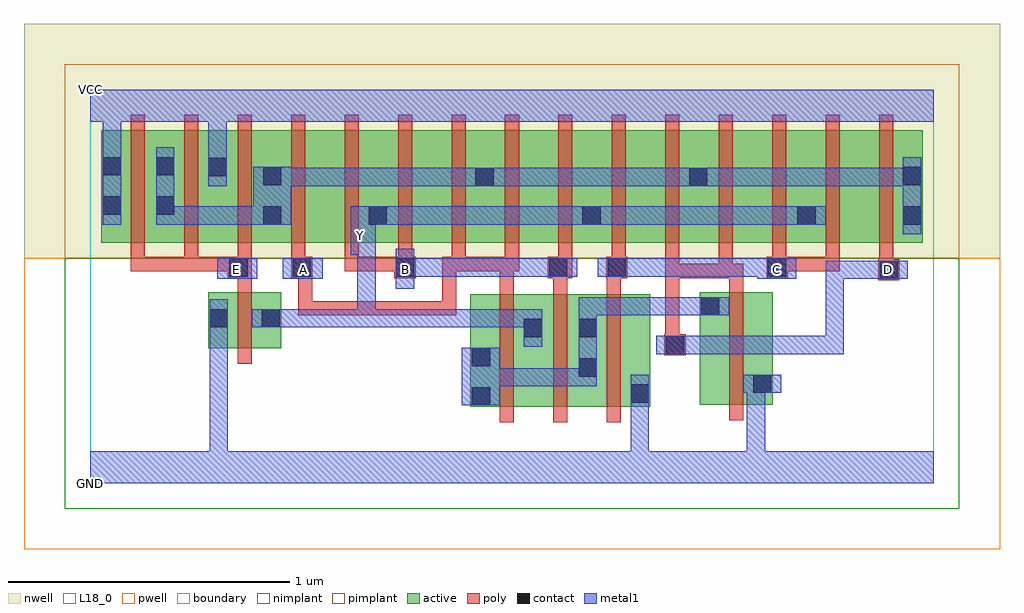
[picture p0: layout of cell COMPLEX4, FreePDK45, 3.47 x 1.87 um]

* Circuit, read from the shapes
.subckt COMPLEX4 A B C D E GND VCC Y
M1 Y E GND VSUBS nfet w=0.2u l=0.05u
M2 Y A n1 VSUBS nfet w=0.4u l=0.05u
M3 n1 B Y VSUBS nfet w=0.4u l=0.05u
M4 GND C n1 VSUBS nfet w=0.4u l=0.05u
M5 GND D n1 VSUBS nfet w=0.4u l=0.05u
M6 n2 E VCC n3 pfet w=0.4u l=0.05u m=3
M7 n4 A n2 n3 pfet w=0.4u l=0.05u
M8 Y B n4 n3 pfet w=0.4u l=0.05u
M9 n5 B Y n3 pfet w=0.4u l=0.05u
M10 n2 A n5 n3 pfet w=0.4u l=0.05u
M11 n6 A n2 n3 pfet w=0.4u l=0.05u
M12 Y B n6 n3 pfet w=0.4u l=0.05u
M13 n7 C Y n3 pfet w=0.4u l=0.05u
M14 n2 D n7 n3 pfet w=0.4u l=0.05u
M15 n8 D n2 n3 pfet w=0.4u l=0.05u
M16 Y C n8 n3 pfet w=0.4u l=0.05u
M17 n9 C Y n3 pfet w=0.4u l=0.05u
M18 n2 D n9 n3 pfet w=0.4u l=0.05u
.ends

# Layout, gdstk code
import gdstk
lib = gdstk.Library(unit=1e-6, precision=1e-09)
def R(c, l, rs):  # rectangles x0, y0, x1, y1
    for r in rs: c.add(gdstk.rectangle(r[:2], r[2:], *l))
def A(c, l, x, y, w, h, nx, ny, dx, dy):  # array of equal rectangles
    R(c, l, [(x+i*dx, y+j*dy, x+i*dx+w, y+j*dy+h) for i in range(nx) for j in range(ny)])
active = (1, 0)
pwell = (2, 0)
nwell = (3, 0)
nimplant = (4, 0)
pimplant = (5, 0)
poly = (9, 0)
contact = (10, 0)
metal1 = (11, 0)
L18_0 = (18, 0)
boundary = (235, 0)

complex4 = lib.new_cell('COMPLEX4')
A(complex4, active, 0.835, 0.855, 0.225, 0.4, 4, 1, 0.38, 0)
A(complex4, active, 0.985, 0.855, 0.23, 0.4, 4, 1, 0.38, 0)
R(complex4, active, [(1.352,0.272,1.612,0.672), (1.352,0.272,1.427,0.495), (1.537,0.272,1.807,0.672), (1.732,0.272,1.992,0.672), (1.732,0.272,1.807,0.672), (1.917,0.272,1.992,0.492), (2.167,0.28,2.427,0.68), (2.352,0.28,2.427,0.597), (1.537,0.345,1.612,0.672), (2.167,0.345,2.242,0.68), (0.42,0.48,0.495,0.68), (0.42,0.48,0.68,0.68), (0.605,0.48,0.68,0.68), (0.04,0.855,0.115,1.255), (0.04,0.855,0.305,1.255), (0.23,0.855,0.49,1.255), (0.415,0.855,0.685,1.255), (0.61,0.855,0.835,1.255), (2.355,0.855,2.585,1.255), (2.51,0.855,2.735,1.255), (2.735,0.855,2.96,1.255), (2.885,0.855,2.96,1.2), (0.23,0.907,0.305,1.2), (0.415,0.907,0.49,1.255), (0.61,0.907,0.685,1.2), (0.985,0.907,1.06,1.07), (1.365,0.907,1.44,1.2), (1.745,0.907,1.82,1.07), (2.125,0.907,2.2,1.2), (2.51,0.907,2.585,1.07)])
R(complex4, pwell, [(-0.235,-0.235,3.235,0.8)])
R(complex4, nwell, [(-0.235,0.8,3.235,1.635)])
R(complex4, nimplant, [(-0.09,-0.09,3.09,0.8)])
R(complex4, pimplant, [(-0.09,0.8,3.09,1.49)])
A(complex4, poly, 1.457, 0.217, 0.05, 0.51, 3, 1, 0.19, 0)
A(complex4, poly, 0.145, 0.755, 0.05, 0.095, 10, 1, 0.19, 0)
A(complex4, poly, 0.145, 0.8, 0.05, 0.51, 15, 1, 0.19, 0)
R(complex4, poly, [(2.272,0.225,2.322,0.735), (0.525,0.425,0.575,0.735), (2.042,0.455,2.117,0.53), (2.045,0.48,2.095,0.53), (2.045,0.48,2.095,0.53), (2.045,0.48,2.095,0.78), (0.74,0.597,0.79,0.647), (0.74,0.597,0.79,0.647), (0.74,0.597,0.79,0.647), (0.74,0.597,1,0.647), (0.74,0.597,0.79,0.78), (0.95,0.597,1,0.647), (0.95,0.597,1.17,0.647), (1.12,0.597,1.17,0.647), (1.12,0.597,1.17,0.647), (1.12,0.597,1.17,0.647), (1.12,0.597,1.302,0.647), (1.252,0.597,1.302,0.647), (1.252,0.597,1.302,0.647), (1.252,0.597,1.302,0.647), (1.252,0.597,1.302,0.647), (1.252,0.597,1.302,0.647), (1.252,0.597,1.302,0.805), (1.457,0.677,1.507,0.805), (1.647,0.677,1.697,0.78), (1.837,0.677,1.887,0.78), (0.525,0.685,0.575,0.78), (2.272,0.685,2.322,0.78), (2.802,0.722,2.877,0.797), (0.49,0.73,0.575,0.805), (0.715,0.73,0.79,0.805), (0.74,0.73,0.79,0.78), (0.74,0.73,0.79,0.78), (1.082,0.73,1.157,0.805), (1.627,0.73,1.715,0.805), (1.835,0.73,1.91,0.805), (2.045,0.73,2.095,0.78), (2.045,0.73,2.095,0.85), (2.045,0.73,2.285,0.78), (2.235,0.73,2.285,0.78), (2.235,0.73,2.285,0.78), (2.235,0.73,2.285,0.85), (2.235,0.73,2.322,0.78), (2.405,0.73,2.48,0.805), (2.805,0.747,2.855,0.85), (0.145,0.755,0.195,0.805), (0.145,0.755,0.195,0.805), (0.145,0.755,0.195,0.805), (0.145,0.755,0.385,0.805), (0.335,0.755,0.385,0.805), (0.335,0.755,0.385,0.805), (0.335,0.755,0.385,0.805), (0.335,0.755,0.54,0.805), (0.905,0.755,0.955,0.805), (0.905,0.755,1.132,0.805), (1.082,0.755,1.132,0.805), (1.082,0.755,1.132,0.805), (1.252,0.755,1.335,0.805), (1.285,0.755,1.507,0.805), (1.457,0.755,1.507,0.805), (1.457,0.755,1.507,0.805), (1.457,0.755,1.525,0.805), (2.425,0.755,2.475,0.85), (2.43,0.755,2.665,0.805), (2.615,0.755,2.665,0.85), (2.615,0.755,2.665,0.805), (2.615,0.755,2.665,0.805), (2.615,0.755,2.665,0.805)])
R(complex4, contact, [(1.357,0.277,1.422,0.342), (1.922,0.287,1.987,0.352), (2.357,0.322,2.422,0.387), (1.737,0.38,1.802,0.445), (1.357,0.417,1.422,0.482), (2.047,0.46,2.112,0.525), (1.542,0.52,1.607,0.585), (1.737,0.52,1.802,0.585), (0.425,0.555,0.49,0.62), (0.61,0.555,0.675,0.62), (2.172,0.597,2.237,0.662), (2.807,0.727,2.872,0.792), (0.495,0.735,0.56,0.8), (0.72,0.735,0.785,0.8), (1.087,0.735,1.152,0.8), (1.632,0.735,1.697,0.8), (1.84,0.735,1.905,0.8), (2.41,0.735,2.475,0.8), (0.615,0.92,0.68,0.985), (0.99,0.92,1.055,0.985), (1.75,0.92,1.815,0.985), (2.515,0.92,2.58,0.985), (2.89,0.92,2.955,0.985), (0.045,0.955,0.11,1.02), (0.235,0.955,0.3,1.02), (1.37,1.057,1.435,1.122), (2.13,1.057,2.195,1.122), (0.615,1.06,0.68,1.125), (2.89,1.06,2.955,1.125), (0.42,1.092,0.485,1.157), (0.045,1.095,0.11,1.16), (0.235,1.095,0.3,1.16)])
R(complex4, metal1, [(0,0,3,0.115), (0.425,0.05,0.49,0.115), (0.425,0.05,0.49,0.115), (0.425,0.05,0.49,0.115), (0.425,0.05,0.49,0.115), (0.425,0.05,0.49,0.115), (0.425,0.05,0.49,0.115), (0.425,0.05,0.49,0.115), (0.425,0.05,0.49,0.115), (0.425,0.05,0.49,0.585), (1.922,0.05,1.987,0.115), (1.922,0.05,1.987,0.115), (1.922,0.05,1.987,0.115), (1.922,0.05,1.987,0.115), (1.922,0.05,1.987,0.317), (2.335,0.05,2.4,0.115), (2.335,0.05,2.4,0.115), (2.335,0.05,2.4,0.387), (1.922,0.252,1.987,0.387), (1.322,0.277,1.457,0.482), (2.322,0.322,2.457,0.387), (2.335,0.322,2.4,0.387), (2.335,0.322,2.4,0.387), (1.392,0.345,1.505,0.41), (1.44,0.345,1.505,0.41), (1.44,0.345,1.642,0.41), (1.577,0.345,1.642,0.41), (1.577,0.345,1.642,0.41), (1.577,0.345,1.642,0.41), (1.577,0.345,1.802,0.41), (1.737,0.345,1.802,0.62), (2.012,0.46,2.147,0.525), (2.082,0.46,2.147,0.525), (2.082,0.46,2.147,0.525), (2.082,0.46,2.3,0.525), (2.235,0.46,2.3,0.525), (2.235,0.46,2.41,0.525), (2.345,0.46,2.41,0.525), (2.345,0.46,2.41,0.525), (2.345,0.46,2.41,0.525), (2.345,0.46,2.437,0.525), (2.372,0.46,2.437,0.525), (2.372,0.46,2.68,0.525), (2.615,0.46,2.68,0.525), (2.615,0.46,2.68,0.792), (1.542,0.485,1.607,0.62), (0.425,0.52,0.49,0.655), (0.575,0.555,0.71,0.62), (0.645,0.555,0.855,0.62), (0.79,0.555,0.855,0.62), (0.79,0.555,0.855,0.62), (0.79,0.555,0.855,0.62), (0.79,0.555,1.015,0.62), (0.95,0.555,1.015,0.62), (0.95,0.555,1.015,0.62), (0.95,0.555,1.015,0.62), (0.95,0.555,1.227,0.62), (0.95,0.555,1.015,0.877), (1.162,0.555,1.227,0.62), (1.162,0.555,1.227,0.62), (1.162,0.555,1.227,0.62), (1.162,0.555,1.365,0.62), (1.3,0.555,1.365,0.62), (1.3,0.555,1.365,0.62), (1.3,0.555,1.365,0.62), (1.3,0.555,1.505,0.62), (1.44,0.555,1.505,0.62), (1.44,0.555,1.607,0.62), (1.737,0.555,1.802,0.662), (1.737,0.597,1.802,0.662), (1.737,0.597,1.802,0.662), (1.737,0.597,1.802,0.662), (1.737,0.597,2.01,0.662), (1.945,0.597,2.01,0.662), (1.945,0.597,2.162,0.662), (2.097,0.597,2.162,0.662), (2.097,0.597,2.202,0.662), (2.137,0.597,2.272,0.662), (1.087,0.692,1.152,0.835), (0.452,0.727,0.595,0.8), (0.685,0.727,0.827,0.8), (2.372,0.727,2.51,0.8), (2.615,0.727,2.68,0.792), (2.615,0.727,2.682,0.792), (2.617,0.727,2.682,0.792), (2.617,0.727,2.817,0.792), (2.752,0.727,2.817,0.792), (2.752,0.727,2.837,0.792), (2.772,0.727,2.907,0.792), (1.087,0.735,1.227,0.8), (1.162,0.735,1.227,0.8), (1.162,0.735,1.365,0.8), (1.3,0.735,1.365,0.8), (1.3,0.735,1.365,0.8), (1.3,0.735,1.365,0.8), (1.3,0.735,1.502,0.8), (1.437,0.735,1.502,0.8), (1.437,0.735,1.607,0.8), (1.542,0.735,1.607,0.8), (1.542,0.735,1.662,0.8), (1.597,0.735,1.732,0.8), (1.805,0.735,1.94,0.8), (1.875,0.735,2.01,0.8), (1.945,0.735,2.01,0.8), (1.945,0.735,2.162,0.8), (2.097,0.735,2.162,0.8), (2.097,0.735,2.162,0.8), (2.097,0.735,2.162,0.8), (2.097,0.735,2.3,0.8), (2.235,0.735,2.3,0.8), (2.235,0.735,2.407,0.8), (2.342,0.735,2.407,0.8), (2.342,0.735,2.437,0.8), (0.927,0.812,1.015,0.985), (2.89,0.885,2.955,1.16), (0.045,0.92,0.11,1.195), (0.235,0.92,0.3,0.985), (0.235,0.92,0.3,0.985), (0.235,0.92,0.3,1.195), (0.235,0.92,0.502,0.985), (0.437,0.92,0.502,0.985), (0.437,0.92,0.502,0.985), (0.437,0.92,0.502,0.985), (0.437,0.92,0.645,0.985), (0.58,0.92,0.715,1.125), (0.95,0.92,1.015,0.985), (0.95,0.92,1.09,0.985), (1.025,0.92,1.227,0.985), (1.162,0.92,1.227,0.985), (1.162,0.92,1.227,0.985), (1.162,0.92,1.227,0.985), (1.162,0.92,1.365,0.985), (1.3,0.92,1.365,0.985), (1.3,0.92,1.365,0.985), (1.3,0.92,1.365,0.985), (1.3,0.92,1.502,0.985), (1.437,0.92,1.502,0.985), (1.437,0.92,1.642,0.985), (1.577,0.92,1.642,0.985), (1.577,0.92,1.642,0.985), (1.577,0.92,1.642,0.985), (1.577,0.92,1.78,0.985), (1.715,0.92,1.85,0.985), (1.785,0.92,1.85,0.985), (1.785,0.92,1.85,0.985), (1.785,0.92,1.987,0.985), (1.922,0.92,1.987,0.985), (1.922,0.92,2.147,0.985), (2.082,0.92,2.147,0.985), (2.082,0.92,2.147,0.985), (2.082,0.92,2.147,0.985), (2.082,0.92,2.3,0.985), (2.235,0.92,2.3,0.985), (2.235,0.92,2.367,0.985), (2.302,0.92,2.367,0.985), (2.302,0.92,2.545,0.985), (2.48,0.92,2.545,0.985), (2.48,0.92,2.545,0.985), (2.48,0.92,2.615,0.985), (0.42,1.057,0.485,1.192), (0.65,1.057,0.855,1.122), (0.79,1.057,0.855,1.122), (0.79,1.057,0.855,1.122), (0.79,1.057,0.855,1.122), (0.79,1.057,0.855,1.122), (0.79,1.057,0.855,1.122), (0.79,1.057,1.015,1.122), (0.95,1.057,1.015,1.122), (0.95,1.057,1.015,1.122), (0.95,1.057,1.015,1.122), (0.95,1.057,1.227,1.122), (1.162,1.057,1.227,1.122), (1.162,1.057,1.227,1.122), (1.162,1.057,1.227,1.122), (1.162,1.057,1.365,1.122), (1.3,1.057,1.365,1.122), (1.3,1.057,1.4,1.122), (1.335,1.057,1.47,1.122), (1.405,1.057,1.505,1.122), (1.44,1.057,1.505,1.122), (1.44,1.057,1.642,1.122), (1.577,1.057,1.642,1.122), (1.577,1.057,1.642,1.122), (1.577,1.057,1.642,1.122), (1.577,1.057,1.78,1.122), (1.715,1.057,1.78,1.122), (1.715,1.057,1.78,1.122), (1.715,1.057,1.78,1.122), (1.715,1.057,2.01,1.122), (1.945,1.057,2.01,1.122), (1.945,1.057,2.16,1.122), (2.095,1.057,2.16,1.122), (2.095,1.057,2.16,1.122), (2.095,1.057,2.23,1.122), (2.165,1.057,2.3,1.122), (2.235,1.057,2.3,1.122), (2.235,1.057,2.407,1.122), (2.342,1.057,2.407,1.122), (2.342,1.057,2.437,1.122), (2.372,1.057,2.437,1.122), (2.372,1.057,2.68,1.122), (2.615,1.057,2.68,1.122), (2.615,1.057,2.682,1.122), (2.617,1.057,2.682,1.122), (2.617,1.057,2.817,1.122), (2.752,1.057,2.817,1.122), (2.752,1.057,2.817,1.122), (2.752,1.057,2.817,1.122), (2.752,1.057,2.955,1.122), (2.89,1.057,2.955,1.122), (2.89,1.057,2.955,1.122), (0.42,1.127,0.485,1.35), (0.045,1.13,0.11,1.35), (0,1.285,3,1.4)])
R(complex4, L18_0, [(0,0,3,0.115), (0.425,0.05,0.49,0.115), (0.425,0.05,0.49,0.115), (0.425,0.05,0.49,0.115), (0.425,0.05,0.49,0.115), (0.425,0.05,0.49,0.115), (0.425,0.05,0.49,0.115), (0.425,0.05,0.49,0.115), (0.425,0.05,0.49,0.115), (0.425,0.05,0.49,0.585), (1.922,0.05,1.987,0.115), (1.922,0.05,1.987,0.115), (1.922,0.05,1.987,0.115), (1.922,0.05,1.987,0.115), (1.922,0.05,1.987,0.317), (2.335,0.05,2.4,0.115), (2.335,0.05,2.4,0.115), (2.335,0.05,2.4,0.387), (1.922,0.252,1.987,0.387), (2.322,0.322,2.457,0.387), (2.335,0.322,2.4,0.387), (2.335,0.322,2.4,0.387), (2.012,0.46,2.147,0.525), (2.082,0.46,2.147,0.525), (2.082,0.46,2.147,0.525), (2.082,0.46,2.3,0.525), (2.235,0.46,2.3,0.525), (2.235,0.46,2.41,0.525), (2.345,0.46,2.41,0.525), (2.345,0.46,2.41,0.525), (2.345,0.46,2.41,0.525), (2.345,0.46,2.437,0.525), (2.372,0.46,2.437,0.525), (2.372,0.46,2.68,0.525), (2.615,0.46,2.68,0.525), (2.615,0.46,2.68,0.792), (1.542,0.485,1.607,0.62), (0.425,0.52,0.49,0.655), (0.575,0.555,0.71,0.62), (0.645,0.555,0.855,0.62), (0.79,0.555,0.855,0.62), (0.79,0.555,0.855,0.62), (0.79,0.555,0.855,0.62), (0.79,0.555,1.015,0.62), (0.95,0.555,1.015,0.62), (0.95,0.555,1.015,0.62), (0.95,0.555,1.015,0.62), (0.95,0.555,1.015,0.877), (0.95,0.555,1.227,0.62), (1.162,0.555,1.227,0.62), (1.162,0.555,1.227,0.62), (1.162,0.555,1.227,0.62), (1.162,0.555,1.365,0.62), (1.3,0.555,1.365,0.62), (1.3,0.555,1.365,0.62), (1.3,0.555,1.365,0.62), (1.3,0.555,1.505,0.62), (1.44,0.555,1.505,0.62), (1.44,0.555,1.607,0.62), (1.087,0.692,1.152,0.835), (0.452,0.727,0.595,0.8), (0.487,0.727,0.552,0.792), (0.685,0.727,0.827,0.8), (0.727,0.727,0.792,0.792), (1.087,0.727,1.152,0.792), (2.372,0.727,2.51,0.8), (2.407,0.727,2.472,0.792), (2.615,0.727,2.68,0.792), (2.615,0.727,2.682,0.792), (2.617,0.727,2.682,0.792), (2.617,0.727,2.817,0.792), (2.752,0.727,2.817,0.792), (2.752,0.727,2.837,0.792), (2.772,0.727,2.907,0.792), (2.807,0.727,2.872,0.792), (1.087,0.735,1.227,0.8), (1.162,0.735,1.227,0.8), (1.162,0.735,1.365,0.8), (1.3,0.735,1.365,0.8), (1.3,0.735,1.365,0.8), (1.3,0.735,1.365,0.8), (1.3,0.735,1.502,0.8), (1.437,0.735,1.502,0.8), (1.437,0.735,1.607,0.8), (1.542,0.735,1.607,0.8), (1.542,0.735,1.662,0.8), (1.597,0.735,1.732,0.8), (1.805,0.735,1.94,0.8), (1.875,0.735,2.01,0.8), (1.945,0.735,2.01,0.8), (1.945,0.735,2.162,0.8), (2.097,0.735,2.162,0.8), (2.097,0.735,2.162,0.8), (2.097,0.735,2.162,0.8), (2.097,0.735,2.3,0.8), (2.235,0.735,2.3,0.8), (2.235,0.735,2.407,0.8), (2.342,0.735,2.407,0.8), (2.342,0.735,2.437,0.8), (0.927,0.812,1.015,0.985), (0.927,0.847,0.992,0.912), (0.045,0.92,0.11,1.195), (0.95,0.92,1.015,0.985), (0.95,0.92,1.09,0.985), (1.025,0.92,1.227,0.985), (1.162,0.92,1.227,0.985), (1.162,0.92,1.227,0.985), (1.162,0.92,1.227,0.985), (1.162,0.92,1.365,0.985), (1.3,0.92,1.365,0.985), (1.3,0.92,1.365,0.985), (1.3,0.92,1.365,0.985), (1.3,0.92,1.502,0.985), (1.437,0.92,1.502,0.985), (1.437,0.92,1.642,0.985), (1.577,0.92,1.642,0.985), (1.577,0.92,1.642,0.985), (1.577,0.92,1.642,0.985), (1.577,0.92,1.78,0.985), (1.715,0.92,1.85,0.985), (1.785,0.92,1.85,0.985), (1.785,0.92,1.85,0.985), (1.785,0.92,1.987,0.985), (1.922,0.92,1.987,0.985), (1.922,0.92,2.147,0.985), (2.082,0.92,2.147,0.985), (2.082,0.92,2.147,0.985), (2.082,0.92,2.147,0.985), (2.082,0.92,2.3,0.985), (2.235,0.92,2.3,0.985), (2.235,0.92,2.367,0.985), (2.302,0.92,2.367,0.985), (2.302,0.92,2.545,0.985), (2.48,0.92,2.545,0.985), (2.48,0.92,2.545,0.985), (2.48,0.92,2.615,0.985), (0.42,1.057,0.485,1.192), (0.42,1.127,0.485,1.35), (0.045,1.13,0.11,1.35), (0,1.285,3,1.4)])
R(complex4, boundary, [(0,0,3,1.4)])
complex4.add(gdstk.Label('A', (0.76,0.76), layer=11, texttype=0))
complex4.add(gdstk.Label('B', (1.12,0.76), layer=11, texttype=0))
complex4.add(gdstk.Label('C', (2.44,0.76), layer=11, texttype=0))
complex4.add(gdstk.Label('D', (2.84,0.76), layer=11, texttype=0))
complex4.add(gdstk.Label('E', (0.52,0.76), layer=11, texttype=0))
complex4.add(gdstk.Label('Y', (0.96,0.88), layer=11, texttype=0))
complex4.add(gdstk.Label('VCC', (0,1.4), layer=11, texttype=0))
complex4.add(gdstk.Label('GND', (0,0), layer=11, texttype=0))

lib.write_gds('COMPLEX4.gds')
